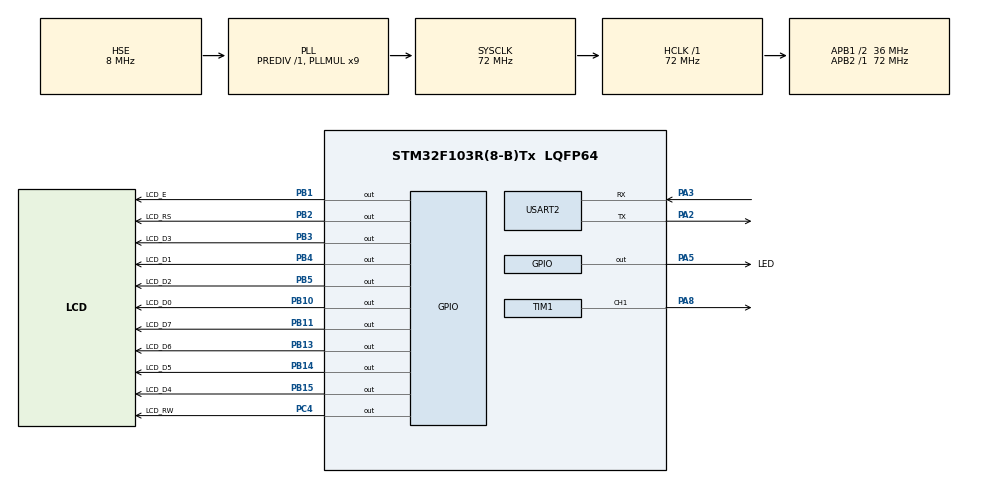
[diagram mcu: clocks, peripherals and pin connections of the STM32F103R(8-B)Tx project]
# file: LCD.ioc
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Mcu.Family=STM32F1
Mcu.Name=STM32F103R(8-B)Tx
Mcu.Package=LQFP64
NVIC.PriorityGroup=NVIC_PRIORITYGROUP_4
NVIC.TIM1_BRK_IRQn=true\:0\:0\:false\:false\:true\:true\:true
NVIC.TIM1_TRG_COM_IRQn=true\:0\:0\:false\:false\:true\:true\:true
NVIC.TIM1_UP_IRQn=true\:0\:0\:false\:false\:true\:true\:true
PA13.Mode=Serial_Wire
PA13.Signal=SYS_JTMS-SWDIO
PA14.Mode=Serial_Wire
PA14.Signal=SYS_JTCK-SWCLK
PA2.Mode=Asynchronous
PA2.Signal=USART2_TX
PA3.Mode=Asynchronous
PA3.Signal=USART2_RX
PA5.GPIO_Label=LED
PA5.GPIO_PuPd=GPIO_PULLDOWN
PA5.Signal=GPIO_Output
PA8.Signal=S_TIM1_CH1
PB1.GPIO_Label=LCD_E
PB1.GPIO_PuPd=GPIO_PULLUP
PB1.Signal=GPIO_Output
PB10.GPIO_Label=LCD_D0
PB10.GPIO_PuPd=GPIO_PULLUP
PB10.Signal=GPIO_Output
PB11.GPIO_Label=LCD_D7
PB11.GPIO_PuPd=GPIO_PULLUP
PB11.Signal=GPIO_Output
PB13.GPIO_Label=LCD_D6
PB13.Signal=GPIO_Output
PB14.GPIO_Label=LCD_D5
PB14.GPIO_PuPd=GPIO_PULLUP
PB14.Signal=GPIO_Output
PB15.GPIO_Label=LCD_D4
PB15.GPIO_PuPd=GPIO_PULLUP
PB15.Signal=GPIO_Output
PB2.GPIO_Label=LCD_RS
PB2.GPIO_PuPd=GPIO_PULLUP
PB2.Signal=GPIO_Output
PB3.GPIO_Label=LCD_D3
PB3.GPIO_PuPd=GPIO_PULLUP
PB3.Signal=GPIO_Output
PB4.GPIO_Label=LCD_D1
PB4.GPIO_PuPd=GPIO_PULLUP
PB4.Signal=GPIO_Output
PB5.GPIO_Label=LCD_D2
PB5.GPIO_PuPd=GPIO_PULLUP
PB5.Signal=GPIO_Output
PC4.GPIO_Label=LCD_RW
PC4.GPIO_PuPd=GPIO_PULLUP
PC4.Signal=GPIO_Output
PD0-OSC_IN.Mode=HSE-External-Oscillator
PD0-OSC_IN.Signal=RCC_OSC_IN
PD1-OSC_OUT.Mode=HSE-External-Oscillator
PD1-OSC_OUT.Signal=RCC_OSC_OUT
ProjectManager.HeapSize=0x200
ProjectManager.StackSize=0x400
ProjectManager.TargetToolchain=EWARM V8.32
RCC.AHBFreq_Value=72000000
RCC.APB1CLKDivider=RCC_HCLK_DIV2
RCC.APB1Freq_Value=36000000
RCC.APB1TimFreq_Value=72000000
RCC.APB2Freq_Value=72000000
RCC.APB2TimFreq_Value=72000000
RCC.HCLKFreq_Value=72000000
RCC.PLLMUL=RCC_PLL_MUL9
RCC.PLLSourceVirtual=RCC_PLLSOURCE_HSE
RCC.SYSCLKFreq_VALUE=72000000
RCC.SYSCLKSource=RCC_SYSCLKSOURCE_PLLCLK
RCC.USBFreq_Value=72000000
SH.S_TIM1_CH1.0=TIM1_CH1,Output Compare1 CH1
TIM1.Channel-Output\ Compare1\ CH1=TIM_CHANNEL_1
TIM1.Period=1000-1
TIM1.Prescaler=48000-1
USART2.VirtualMode=VM_ASYNC
board=custom

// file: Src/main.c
/* USER CODE BEGIN Header */
/**
  ******************************************************************************
  * @file           : main.c
  * @brief          : Main program body
  ******************************************************************************
  * @attention
  *
  * <h2><center>&copy; Copyright (c) 2020 STMicroelectronics.
  * All rights reserved.</center></h2>
  *
  * This software component is licensed by ST under BSD 3-Clause license,
  * the "License"; You may not use this file except in compliance with the
  * License. You may obtain a copy of the License at:
  *                        opensource.org/licenses/BSD-3-Clause
  *
  ******************************************************************************
  */
/* USER CODE END Header */

#include "main.h"

/* USER CODE BEGIN Includes */
//#include "STM_LCD16X2.h"
#include "lcd_1602.h"
/* USER CODE END Includes */

TIM_HandleTypeDef htim1;

UART_HandleTypeDef huart2;

/* USER CODE BEGIN PV */
char * UartTx = "HELLO\n\r";
uint8_t UartRx[5];
int a,b,c;
char str[20];
/* USER CODE END PV */

void SystemClock_Config(void);
static void MX_GPIO_Init(void);
static void MX_USART2_UART_Init(void);
static void MX_TIM1_Init(void);

/* USER CODE BEGIN 0 */
uint8_t buffer[10];

void  HAL_TIM_PeriodElapsedCallback(TIM_HandleTypeDef *htim){
  static uint8_t timer=100;
if ( htim->Instance == htim1.Instance)
  {
    HAL_GPIO_TogglePin(GPIOA,GPIO_PIN_5);
    sprintf((char*)buffer,"%d\r\n",timer);
    timer++;
    HAL_UART_Transmit(&huart2,buffer, sizeof(buffer),10);
  }
}
/* USER CODE END 0 */

int main(void)
{

  /* MCU Configuration--------------------------------------------------------*/

  /* Reset of all peripherals, Initializes the Flash interface and the Systick. */
  HAL_Init();

  /* Configure the system clock */
  SystemClock_Config();

  /* Initialize all configured peripherals */
  MX_GPIO_Init();
  MX_USART2_UART_Init();
  MX_TIM1_Init();
  /* USER CODE BEGIN 2 */
    sprintf((char*)buffer,"hello \r\n");
    HAL_UART_Transmit(&huart2,buffer, sizeof(buffer),10);

  lcd1602_init();
  LCD1602_print(1, 0, "hello");
  LCD1602_print(2, 0, "hnydiy.tistory");

  /* USER CODE END 2 */

  /* Infinite loop */
  while (1)
  {

  }
}

void SystemClock_Config(void)
{
  RCC_OscInitTypeDef RCC_OscInitStruct = {0};
  RCC_ClkInitTypeDef RCC_ClkInitStruct = {0};

  /** Initializes the CPU, AHB and APB busses clocks
  */
  RCC_OscInitStruct.OscillatorType = RCC_OSCILLATORTYPE_HSE;
  RCC_OscInitStruct.HSEState = RCC_HSE_ON;
  RCC_OscInitStruct.HSEPredivValue = RCC_HSE_PREDIV_DIV1;
  RCC_OscInitStruct.HSIState = RCC_HSI_ON;
  RCC_OscInitStruct.PLL.PLLState = RCC_PLL_ON;
  RCC_OscInitStruct.PLL.PLLSource = RCC_PLLSOURCE_HSE;
  RCC_OscInitStruct.PLL.PLLMUL = RCC_PLL_MUL9;
  if (HAL_RCC_OscConfig(&RCC_OscInitStruct) != HAL_OK)
  {
    Error_Handler();
  }
  /** Initializes the CPU, AHB and APB busses clocks
  */
  RCC_ClkInitStruct.ClockType = RCC_CLOCKTYPE_HCLK|RCC_CLOCKTYPE_SYSCLK
                              |RCC_CLOCKTYPE_PCLK1|RCC_CLOCKTYPE_PCLK2;
  RCC_ClkInitStruct.SYSCLKSource = RCC_SYSCLKSOURCE_PLLCLK;
  RCC_ClkInitStruct.AHBCLKDivider = RCC_SYSCLK_DIV1;
  RCC_ClkInitStruct.APB1CLKDivider = RCC_HCLK_DIV2;
  RCC_ClkInitStruct.APB2CLKDivider = RCC_HCLK_DIV1;

  if (HAL_RCC_ClockConfig(&RCC_ClkInitStruct, FLASH_LATENCY_2) != HAL_OK)
  {
    Error_Handler();
  }
}

static void MX_TIM1_Init(void)
{

  TIM_MasterConfigTypeDef sMasterConfig = {0};
  TIM_OC_InitTypeDef sConfigOC = {0};
  TIM_BreakDeadTimeConfigTypeDef sBreakDeadTimeConfig = {0};

  htim1.Instance = TIM1;
  htim1.Init.Prescaler = 48000-1;
  htim1.Init.CounterMode = TIM_COUNTERMODE_UP;
  htim1.Init.Period = 1000-1;
  htim1.Init.ClockDivision = TIM_CLOCKDIVISION_DIV1;
  htim1.Init.RepetitionCounter = 0;
  htim1.Init.AutoReloadPreload = TIM_AUTORELOAD_PRELOAD_DISABLE;
  if (HAL_TIM_OC_Init(&htim1) != HAL_OK)
  {
    Error_Handler();
  }
  sMasterConfig.MasterOutputTrigger = TIM_TRGO_RESET;
  sMasterConfig.MasterSlaveMode = TIM_MASTERSLAVEMODE_DISABLE;
  if (HAL_TIMEx_MasterConfigSynchronization(&htim1, &sMasterConfig) != HAL_OK)
  {
    Error_Handler();
  }
  sConfigOC.OCMode = TIM_OCMODE_TIMING;
  sConfigOC.Pulse = 0;
  sConfigOC.OCPolarity = TIM_OCPOLARITY_HIGH;
  sConfigOC.OCNPolarity = TIM_OCNPOLARITY_HIGH;
  sConfigOC.OCFastMode = TIM_OCFAST_DISABLE;
  sConfigOC.OCIdleState = TIM_OCIDLESTATE_RESET;
  sConfigOC.OCNIdleState = TIM_OCNIDLESTATE_RESET;
  if (HAL_TIM_OC_ConfigChannel(&htim1, &sConfigOC, TIM_CHANNEL_1) != HAL_OK)
  {
    Error_Handler();
  }
  sBreakDeadTimeConfig.OffStateRunMode = TIM_OSSR_DISABLE;
  sBreakDeadTimeConfig.OffStateIDLEMode = TIM_OSSI_DISABLE;
  sBreakDeadTimeConfig.LockLevel = TIM_LOCKLEVEL_OFF;
  sBreakDeadTimeConfig.DeadTime = 0;
  sBreakDeadTimeConfig.BreakState = TIM_BREAK_DISABLE;
  sBreakDeadTimeConfig.BreakPolarity = TIM_BREAKPOLARITY_HIGH;
  sBreakDeadTimeConfig.AutomaticOutput = TIM_AUTOMATICOUTPUT_DISABLE;
  if (HAL_TIMEx_ConfigBreakDeadTime(&htim1, &sBreakDeadTimeConfig) != HAL_OK)
  {
    Error_Handler();
  }
  HAL_TIM_MspPostInit(&htim1);

}

static void MX_USART2_UART_Init(void)
{

  huart2.Instance = USART2;
  huart2.Init.BaudRate = 115200;
  huart2.Init.WordLength = UART_WORDLENGTH_8B;
  huart2.Init.StopBits = UART_STOPBITS_1;
  huart2.Init.Parity = UART_PARITY_NONE;
  huart2.Init.Mode = UART_MODE_TX_RX;
  huart2.Init.HwFlowCtl = UART_HWCONTROL_NONE;
  huart2.Init.OverSampling = UART_OVERSAMPLING_16;
  if (HAL_UART_Init(&huart2) != HAL_OK)
  {
    Error_Handler();
  }

}

static void MX_GPIO_Init(void)
{
  GPIO_InitTypeDef GPIO_InitStruct = {0};

  /* GPIO Ports Clock Enable */
  __HAL_RCC_GPIOD_CLK_ENABLE();
  __HAL_RCC_GPIOA_CLK_ENABLE();
  __HAL_RCC_GPIOB_CLK_ENABLE();

  /*Configure GPIO pin Output Level */
  HAL_GPIO_WritePin(LED_GPIO_Port, LED_Pin, GPIO_PIN_RESET);

  /*Configure GPIO pin Output Level */
  HAL_GPIO_WritePin(GPIOB, LCD_E_Pin|LCD_RS_Pin|LCD_D7_Pin|LCD_D6_Pin
                          |LCD_D5_Pin|LCD_D4_Pin, GPIO_PIN_RESET);

  /*Configure GPIO pin : LED_Pin */
  GPIO_InitStruct.Pin = LED_Pin;
  GPIO_InitStruct.Mode = GPIO_MODE_OUTPUT_PP;
  GPIO_InitStruct.Pull = GPIO_PULLDOWN;
  GPIO_InitStruct.Speed = GPIO_SPEED_FREQ_LOW;
  HAL_GPIO_Init(LED_GPIO_Port, &GPIO_InitStruct);

  /*Configure GPIO pins : LCD_E_Pin LCD_RS_Pin LCD_D7_Pin LCD_D5_Pin
                           LCD_D4_Pin */
  GPIO_InitStruct.Pin = LCD_E_Pin|LCD_RS_Pin|LCD_D7_Pin|LCD_D5_Pin
                          |LCD_D4_Pin;
  GPIO_InitStruct.Mode = GPIO_MODE_OUTPUT_PP;
  GPIO_InitStruct.Pull = GPIO_PULLUP;
  GPIO_InitStruct.Speed = GPIO_SPEED_FREQ_LOW;
  HAL_GPIO_Init(GPIOB, &GPIO_InitStruct);

  /*Configure GPIO pin : LCD_D6_Pin */
  GPIO_InitStruct.Pin = LCD_D6_Pin;
  GPIO_InitStruct.Mode = GPIO_MODE_OUTPUT_PP;
  GPIO_InitStruct.Pull = GPIO_NOPULL;
  GPIO_InitStruct.Speed = GPIO_SPEED_FREQ_LOW;
  HAL_GPIO_Init(LCD_D6_GPIO_Port, &GPIO_InitStruct);

}

void Error_Handler(void)
{
}

/************************ (C) COPYRIGHT STMicroelectronics *****END OF FILE****/
